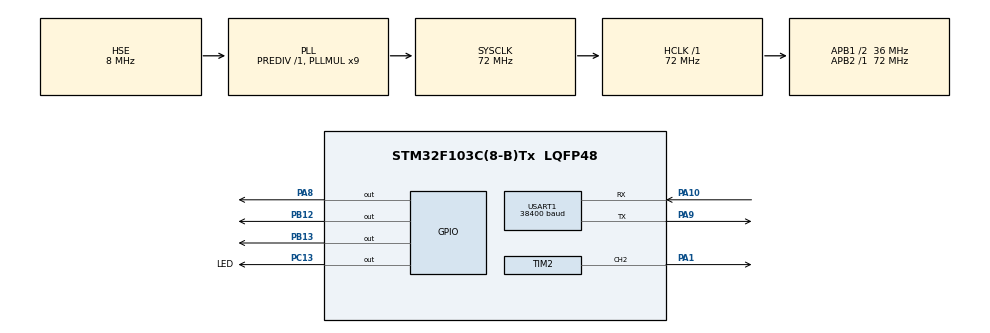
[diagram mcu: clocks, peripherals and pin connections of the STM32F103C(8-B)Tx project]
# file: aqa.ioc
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Dma.Request0=TIM2_CH2/CH4
Dma.TIM2_CH2/CH4.0.Direction=DMA_MEMORY_TO_PERIPH
Dma.TIM2_CH2/CH4.0.Instance=DMA1_Channel7
Dma.TIM2_CH2/CH4.0.MemDataAlignment=DMA_MDATAALIGN_BYTE
Dma.TIM2_CH2/CH4.0.MemInc=DMA_MINC_ENABLE
Dma.TIM2_CH2/CH4.0.Mode=DMA_CIRCULAR
Dma.TIM2_CH2/CH4.0.PeriphDataAlignment=DMA_PDATAALIGN_HALFWORD
Dma.TIM2_CH2/CH4.0.PeriphInc=DMA_PINC_DISABLE
Dma.TIM2_CH2/CH4.0.Priority=DMA_PRIORITY_VERY_HIGH
Mcu.Family=STM32F1
Mcu.Name=STM32F103C(8-B)Tx
Mcu.Package=LQFP48
NVIC.DMA1_Channel7_IRQn=true\:0\:0\:false\:false\:true\:false
NVIC.PriorityGroup=NVIC_PRIORITYGROUP_4
NVIC.TIM4_IRQn=true\:0\:0\:false\:false\:true\:true
NVIC.USART1_IRQn=true\:0\:0\:false\:false\:true\:true
PA1.GPIO_Speed=GPIO_SPEED_FREQ_HIGH
PA1.Signal=S_TIM2_CH2
PA10.Mode=Asynchronous
PA10.Signal=USART1_RX
PA13.Mode=Trace_Asynchronous_SW
PA13.Signal=SYS_JTMS-SWDIO
PA14.Mode=Trace_Asynchronous_SW
PA14.Signal=SYS_JTCK-SWCLK
PA8.Signal=GPIO_Output
PA9.Mode=Asynchronous
PA9.Signal=USART1_TX
PB12.GPIO_PuPd=GPIO_PULLDOWN
PB12.Signal=GPIO_Output
PB13.GPIO_PuPd=GPIO_PULLDOWN
PB13.Signal=GPIO_Output
PB3.Mode=Trace_Asynchronous_SW
PB3.Signal=SYS_JTDO-TRACESWO
PC13-TAMPER-RTC.GPIO_Label=LED
PC13-TAMPER-RTC.Signal=GPIO_Output
PC14-OSC32_IN.Mode=LSE-External-Oscillator
PC14-OSC32_IN.Signal=RCC_OSC32_IN
PC15-OSC32_OUT.Mode=LSE-External-Oscillator
PC15-OSC32_OUT.Signal=RCC_OSC32_OUT
PD0-OSC_IN.Mode=HSE-External-Oscillator
PD0-OSC_IN.Signal=RCC_OSC_IN
PD1-OSC_OUT.Mode=HSE-External-Oscillator
PD1-OSC_OUT.Signal=RCC_OSC_OUT
ProjectManager.HeapSize=0x3000
ProjectManager.StackSize=0x500
ProjectManager.TargetToolchain=MDK-ARM V5
RCC.AHBFreq_Value=72000000
RCC.APB1CLKDivider=RCC_HCLK_DIV2
RCC.APB1Freq_Value=36000000
RCC.APB1TimFreq_Value=72000000
RCC.APB2Freq_Value=72000000
RCC.APB2TimFreq_Value=72000000
RCC.HCLKFreq_Value=72000000
RCC.PLLMUL=RCC_PLL_MUL9
RCC.PLLSourceVirtual=RCC_PLLSOURCE_HSE
RCC.RTCClockSelection=RCC_RTCCLKSOURCE_LSE
RCC.SYSCLKFreq_VALUE=72000000
RCC.SYSCLKSource=RCC_SYSCLKSOURCE_PLLCLK
RCC.USBFreq_Value=48000000
RCC.USBPrescaler=RCC_USBCLKSOURCE_PLL_DIV1_5
SH.S_TIM2_CH2.0=TIM2_CH2,PWM Generation2 CH2
TIM2.Channel-PWM\ Generation2\ CH2=TIM_CHANNEL_2
TIM2.Period=23
TIM2.Prescaler=3
TIM4.Period=400
TIM4.Prescaler=36000
TIM4.TIM_MasterOutputTrigger=TIM_TRGO_UPDATE
USART1.BaudRate=38400
USART1.VirtualMode=VM_ASYNC
VP_RTC_No_RTC_Output.Mode=RTC_OUT_NO
VP_RTC_VS_RTC_Activate.Mode=RTC_Enabled
VP_RTC_VS_RTC_Calendar.Mode=RTC_Calendar
VP_TIM4_VS_ClockSourceITR.Mode=TriggerSource_ITR0
board=custom

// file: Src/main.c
/**
  ******************************************************************************
  * @file           : main.c
  * @brief          : Main program body
  ******************************************************************************
  ** This notice applies to any and all portions of this file
  * that are not between comment pairs USER CODE BEGIN and
  * USER CODE END. Other portions of this file, whether
  * inserted by the user or by software development tools
  * are owned by their respective copyright owners.
  *
  * COPYRIGHT(c) 2018 STMicroelectronics
  *
  * Redistribution and use in source and binary forms, with or without modification,
  * are permitted provided that the following conditions are met:
  *   1. Redistributions of source code must retain the above copyright notice,
  *      this list of conditions and the following disclaimer.
  *   2. Redistributions in binary form must reproduce the above copyright notice,
  *      this list of conditions and the following disclaimer in the documentation
  *      and/or other materials provided with the distribution.
  *   3. Neither the name of STMicroelectronics nor the names of its contributors
  *      may be used to endorse or promote products derived from this software
  *      without specific prior written permission.
  *
  * THIS SOFTWARE IS PROVIDED BY THE COPYRIGHT HOLDERS AND CONTRIBUTORS "AS IS"
  * AND ANY EXPRESS OR IMPLIED WARRANTIES, INCLUDING, BUT NOT LIMITED TO, THE
  * IMPLIED WARRANTIES OF MERCHANTABILITY AND FITNESS FOR A PARTICULAR PURPOSE ARE
  * DISCLAIMED. IN NO EVENT SHALL THE COPYRIGHT HOLDER OR CONTRIBUTORS BE LIABLE
  * FOR ANY DIRECT, INDIRECT, INCIDENTAL, SPECIAL, EXEMPLARY, OR CONSEQUENTIAL
  * DAMAGES (INCLUDING, BUT NOT LIMITED TO, PROCUREMENT OF SUBSTITUTE GOODS OR
  * SERVICES; LOSS OF USE, DATA, OR PROFITS; OR BUSINESS INTERRUPTION) HOWEVER
  * CAUSED AND ON ANY THEORY OF LIABILITY, WHETHER IN CONTRACT, STRICT LIABILITY,
  * OR TORT (INCLUDING NEGLIGENCE OR OTHERWISE) ARISING IN ANY WAY OUT OF THE USE
  * OF THIS SOFTWARE, EVEN IF ADVISED OF THE POSSIBILITY OF SUCH DAMAGE.
  *
  ******************************************************************************
  */
#include "main.h"
#include "stm32f1xx_hal.h"
#include "dma.h"
#include "rtc.h"
#include "tim.h"
#include "usart.h"
#include "gpio.h"
#include "stm32f1xx_it.h"

/* USER CODE BEGIN Includes */
#include "ledControl.h"

volatile uint8_t effectIndex = 0; //
extern uint8_t uartRX;

void setEffectIndex(unsigned int x){
  effectIndex = x % getEffectCount();
}

unsigned int getEffectIndex(void){
  return effectIndex;
}

/* USER CODE END Includes */

/* USER CODE BEGIN PV */
/* Private variables ---------------------------------------------------------*/

/* USER CODE END PV */

void SystemClock_Config(void);

/* USER CODE BEGIN PFP */
/* Private function prototypes -----------------------------------------------*/

/* USER CODE END PFP */

int main(void)
{

  /* MCU Configuration----------------------------------------------------------*/

  /* Reset of all peripherals, Initializes the Flash interface and the Systick. */
  HAL_Init();

  /* Configure the system clock */
  SystemClock_Config();

  /* Initialize all configured peripherals */
  MX_GPIO_Init();
  MX_DMA_Init();
  MX_RTC_Init();
  MX_TIM4_Init();
  MX_TIM2_Init();
  MX_USART1_UART_Init();

  /* USER CODE BEGIN 2 */
  ledsArray* ledCntrl = init(300); //

  HAL_Delay(1000);

  HAL_TIM_PWM_Start_DMA(&htim2, TIM_CHANNEL_2, (uint32_t *)ledCntrl->BufArray, ledCntrl->BufSize);
  HAL_TIM_Base_Start(&htim4);
  HAL_TIM_Base_Start_IT(&htim4);

  uint32_t delayTime = 0;
  /* USER CODE END 2 */

  HAL_Delay(1000);

  //wifi init
  uint8_t MUX[]="AT+CIPMUX=1\r\n";
  HAL_UART_Transmit(&huart1, MUX, sizeof(MUX) - 1, 10);
  HAL_Delay(1000);
  uint8_t SERVER[]="AT+CIPSERVER=1,5555\r\n";
  HAL_UART_Transmit(&huart1, SERVER, sizeof(SERVER) - 1, 10);
  HAL_Delay(1000);

  //off relay
  HAL_GPIO_WritePin(GPIOB, GPIO_PIN_12, GPIO_PIN_SET);
  HAL_GPIO_WritePin(GPIOB, GPIO_PIN_13, GPIO_PIN_SET);

  HAL_UART_Receive_IT(&huart1, &uartRX, sizeof(uartRX));
  /* Infinite loop */
  /* USER CODE BEGIN WHILE */
  while (1)
  {
    runEffect(effectIndex)(&delayTime);
    HAL_Delay(delayTime);
  /* USER CODE END WHILE */

  }

}

void SystemClock_Config(void)
{

  RCC_OscInitTypeDef RCC_OscInitStruct;
  RCC_ClkInitTypeDef RCC_ClkInitStruct;
  RCC_PeriphCLKInitTypeDef PeriphClkInit;

    /**Initializes the CPU, AHB and APB busses clocks
    */
  RCC_OscInitStruct.OscillatorType = RCC_OSCILLATORTYPE_HSE|RCC_OSCILLATORTYPE_LSE;
  RCC_OscInitStruct.HSEState = RCC_HSE_ON;
  RCC_OscInitStruct.HSEPredivValue = RCC_HSE_PREDIV_DIV1;
  RCC_OscInitStruct.LSEState = RCC_LSE_ON;
  RCC_OscInitStruct.HSIState = RCC_HSI_ON;
  RCC_OscInitStruct.PLL.PLLState = RCC_PLL_ON;
  RCC_OscInitStruct.PLL.PLLSource = RCC_PLLSOURCE_HSE;
  RCC_OscInitStruct.PLL.PLLMUL = RCC_PLL_MUL9;
  if (HAL_RCC_OscConfig(&RCC_OscInitStruct) != HAL_OK)
  {
    _Error_Handler(__FILE__, __LINE__);
  }

    /**Initializes the CPU, AHB and APB busses clocks
    */
  RCC_ClkInitStruct.ClockType = RCC_CLOCKTYPE_HCLK|RCC_CLOCKTYPE_SYSCLK
                              |RCC_CLOCKTYPE_PCLK1|RCC_CLOCKTYPE_PCLK2;
  RCC_ClkInitStruct.SYSCLKSource = RCC_SYSCLKSOURCE_PLLCLK;
  RCC_ClkInitStruct.AHBCLKDivider = RCC_SYSCLK_DIV1;
  RCC_ClkInitStruct.APB1CLKDivider = RCC_HCLK_DIV2;
  RCC_ClkInitStruct.APB2CLKDivider = RCC_HCLK_DIV1;

  if (HAL_RCC_ClockConfig(&RCC_ClkInitStruct, FLASH_LATENCY_2) != HAL_OK)
  {
    _Error_Handler(__FILE__, __LINE__);
  }

  PeriphClkInit.PeriphClockSelection = RCC_PERIPHCLK_RTC;
  PeriphClkInit.RTCClockSelection = RCC_RTCCLKSOURCE_LSE;
  if (HAL_RCCEx_PeriphCLKConfig(&PeriphClkInit) != HAL_OK)
  {
    _Error_Handler(__FILE__, __LINE__);
  }

    /**Configure the Systick interrupt time
    */
  HAL_SYSTICK_Config(HAL_RCC_GetHCLKFreq()/1000);

    /**Configure the Systick
    */
  HAL_SYSTICK_CLKSourceConfig(SYSTICK_CLKSOURCE_HCLK);

  /* SysTick_IRQn interrupt configuration */
  HAL_NVIC_SetPriority(SysTick_IRQn, 0, 0);
}

void _Error_Handler(char *file, int line)
{
  while(1)
  {
  }
}

/************************ (C) COPYRIGHT STMicroelectronics *****END OF FILE****/
